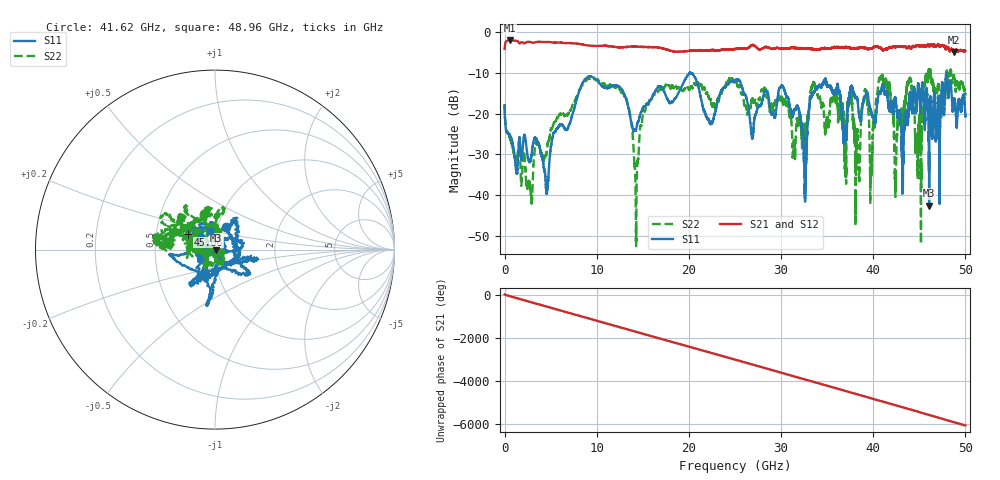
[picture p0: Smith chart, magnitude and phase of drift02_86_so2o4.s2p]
!Created with skrf (http://scikit-rf.org).
# Hz S RI R 50.0
!freq ReS11 ImS11 ReS21 ImS21 ReS12 ImS12 ReS22 ImS22
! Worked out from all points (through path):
!   10001 points, 300 kHz to 50 GHz, reference 50 ohm
!   highest |S21| = -1.99 dB at 540.3 MHz (marker M1); lowest = -4.8 dB at 48.77 GHz (marker M2)
!   group delay of S21, straight-line fit = 337 ps
!   lowest |S11| = -42.6 dB at 46.07 GHz (marker M3), VSWR 1.01, Z = 50.6 - j0.473 ohm
!   |S11| at or under -10 dB: start of sweep to 20.06 GHz; 20.2065 GHz to 20.22151 GHz (15.01 MHz wide, 0.0743 % of centre); 20.24 GHz to end of sweep (the widest 3 of 5)
!   |S22| runs from -52.6 to -9.0 dB; largest |S21 - S12| = 0.036
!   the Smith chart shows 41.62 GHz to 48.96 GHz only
!   S11 on the Smith chart (normalised r, x): 41.62 GHz: 1.09, +0.28; 45.86 GHz: 0.73, +0.13; 48.96 GHz: 0.93, +0.20
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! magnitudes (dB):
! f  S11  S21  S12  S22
! 300 kHz  -18.0  -4.1  -4.0  -17.6
! 540.3 MHz  -25.1  -2.0  -2.0  -25.8
! 4.575 GHz  -39.4  -2.4  -2.4  -29.1
! 8.335 GHz  -13.0  -2.9  -2.9  -13.2
! 13.01 GHz  -15.3  -3.6  -3.6  -15.7
! 14.28 GHz  -23.8  -3.5  -3.5  -49.5
! 16.67 GHz  -13.3  -3.7  -3.7  -14.5
! 25 GHz  -12.1  -4.1  -4.1  -12.1
! 26.86 GHz  -25.8  -3.1  -3.1  -16.5
! 30.19 GHz  -13.4  -4.1  -4.1  -16.7
! 32.58 GHz  -39.5  -3.9  -4.0  -24.1
! 33.34 GHz  -15.8  -4.0  -4.0  -13.6
! 38.3 GHz  -16.7  -3.9  -3.8  -24.5
! 41.62 GHz  -17.2  -3.9  -4.0  -13.6
! 41.67 GHz  -18.2  -3.8  -3.9  -12.7
! 42.42 GHz  -16.5  -3.7  -3.7  -34.3
! 44.99 GHz  -14.3  -3.3  -3.3  -21.1
! 45.86 GHz  -15.3  -3.2  -3.2  -12.0
! 46.07 GHz  -42.6  -3.3  -3.4  -9.9
! 48.77 GHz  -16.8  -4.8  -4.8  -10.7
! 48.96 GHz  -19.2  -4.4  -4.3  -14.3
! 50 GHz  -20.7  -4.6  -4.6  -15.6
